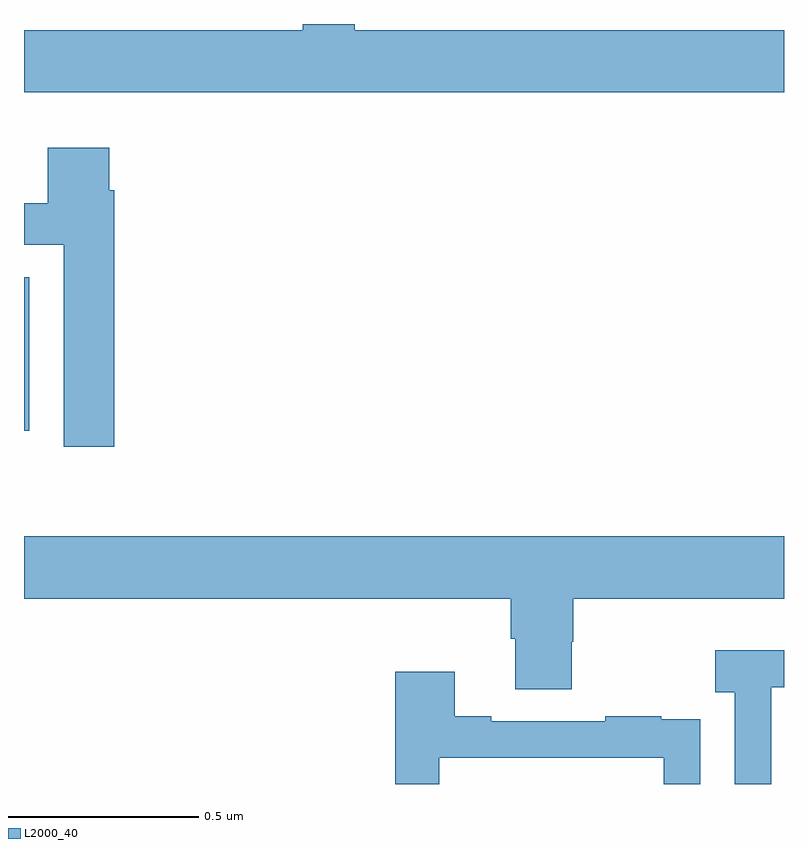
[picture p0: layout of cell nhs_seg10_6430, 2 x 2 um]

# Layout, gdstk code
import gdstk
lib = gdstk.Library(unit=1e-6, precision=1e-09)
def R(c, l, rs):  # rectangles x0, y0, x1, y1
    for r in rs: c.add(gdstk.rectangle(r[:2], r[2:], *l))
def P(c, l, *ps):  # polygons
    for p in ps: c.add(gdstk.Polygon(p, *l))
L2000_40 = (2000, 40)

nhs_seg10_6430 = lib.new_cell('nhs_seg10_6430')
R(nhs_seg10_6430, L2000_40, [(191,1295.429,191.014,1295.834)])
P(nhs_seg10_6430, L2000_40, [(193,1296.484),(191.871,1296.484),(191.871,1296.5),(191.733,1296.5),(191.733,1296.484),(191,1296.484),(191,1296.32),(193,1296.32)],
  [(191.237,1296.062),(191.224,1296.062),(191.224,1296.175),(191.063,1296.175),(191.063,1296.028),(191,1296.028),(191,1295.919),(191.105,1295.919),(191.105,1295.388),(191.237,1295.388)],
  [(192.441,1294.875),(192.446,1294.875),(192.446,1294.988),(193,1294.988),(193,1295.152),(191,1295.152),(191,1294.988),(192.281,1294.988),(192.281,1294.882),(192.293,1294.882),(192.293,1294.75),(192.441,1294.75)],
  [(192.966,1294.555),(192.967,1294.555),(192.967,1294.755),(193,1294.755),(193,1294.852),(192.819,1294.852),(192.819,1294.742),(192.87,1294.742),(192.87,1294.5),(192.966,1294.5)],
  [(192.093,1294.569),(192.684,1294.569),(192.684,1294.5),(192.78,1294.5),(192.78,1294.562),(192.779,1294.562),(192.779,1294.671),(192.677,1294.671),(192.677,1294.678),(192.529,1294.678),(192.529,1294.665),(192.229,1294.665),(192.229,1294.678),(192.133,1294.678),(192.133,1294.795),(191.977,1294.795),(191.977,1294.5),(192.093,1294.5)])

lib.write_gds('nhs_seg10_6430.gds')
